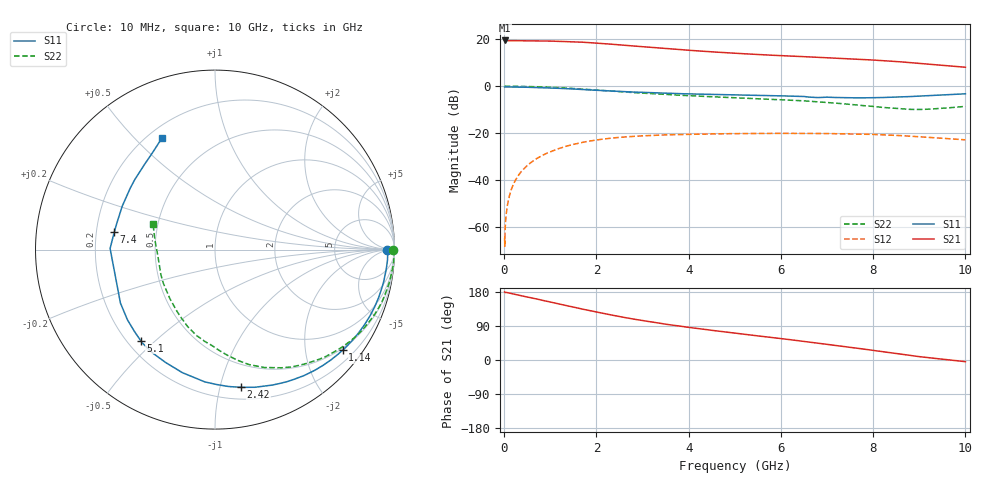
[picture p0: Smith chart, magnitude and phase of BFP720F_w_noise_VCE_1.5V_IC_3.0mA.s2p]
! Infineon Technologies  Discrete & RF Semiconductors
! BFP720F
! VCE =  1.5 V,  IC =  3.0 mA
! Common Emitter S-Parameters:  Jan 2016
# GHz  S  MA  R  50
!  f  S11  S21  S12  S22
! GHz  MAG  ANG  MAG  ANG  MAG  ANG  MAG  ANG
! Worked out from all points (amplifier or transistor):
!   233 points, 10 MHz to 10 GHz, reference 50 ohm
!   highest |S21| = 19.4 dB at 10 MHz (marker M1)
!   |S21| within 3 dB of that: start of sweep to 3.219 GHz
!   unconditionally stable (mu >= 1): 8.91 GHz to end of sweep
!   at 200 MHz: K = 0.02, MSG = 30.5 dB, |S12| = -41.7 dB
!   at 1.74 GHz: K = 0.16, MSG = 21.2 dB, |S12| = -23.7 dB
!   at 10 GHz: K = 1.12, MAG = 13.3 dB, |S12| = -22.8 dB
!   lowest NFmin = 0.40 dB at 450 MHz
!   S11 on the Smith chart (normalised r, x): 10 MHz: 50, +0; 1.14 GHz: 0.45, -2.82; 2.42 GHz: 0.30, -1.16; 5.1 GHz: 0.25, -0.45; 7.4 GHz: 0.28, +0.08; 10 GHz: 0.25, +0.60
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0.01  0.961 0.0  9.369 179.6  0.0006 -24.7  0.9941 -0.2
0.015  0.9625 -0.3  9.262 178.8  0.0004 55.7  0.997 -0.7
0.02  0.9641 -0.5  9.157 178.0  0.0009 96.8  1 -1.1
0.03  0.9635 -0.9  9.195 178.1  0.0013 92.3  0.9992 -1.2
0.09  0.9629 -2.9  9.281 177.3  0.0037 88.1  0.9981 -2.2
0.28  0.9578 -9.2  9.257 172.1  0.0116 84.0  0.9933 -6.8
0.8  0.9325 -26.6  9.182 158.4  0.0327 71.9  0.968 -19.6
1.14  0.9055 -38.2  8.988 149.2  0.0457 63.7  0.9372 -28.0
1.68  0.8521 -56.8  8.624 134.8  0.0636 51.0  0.8718 -41.2
2  0.8194 -67.1  8.252 126.5  0.0721 43.9  0.83 -48.5
2.42  0.7804 -79.4  7.664 116.6  0.0807 35.1  0.7772 -57.4
2.96  0.7412 -93.4  6.957 104.8  0.0878 25.7  0.7166 -66.5
3.4  0.7134 -102.7  6.427 96.5  0.0915 19.1  0.6758 -72.3
4  0.6868 -113.5  5.805 86.1  0.095 11.3  0.6291 -78.5
4.5  0.6729 -121.0  5.372 78.3  0.097 5.8  0.5976 -82.7
5.1  0.6545 -129.3  4.953 69.5  0.0985 -0.5  0.5615 -87.7
6.5  0.6053 -150.5  4.248 49.0  0.0997 -14.2  0.4889 -102.3
6.8  0.5732 -168.4  4.106 44.4  0.099 -17.1  0.467 -106.7
7.4  0.5697 170.2  3.841 35.0  0.0973 -23.0  0.4196 -117.5
8.4  0.5836 143.9  3.398 18.7  0.0913 -33.1  0.3433 -147.1
9  0.616 129.6  3.059 8.9  0.0845 -38.6  0.3202 -173.4
10  0.6894 115.4  2.527 -4.4  0.0725 -44.0  0.3733 157.6
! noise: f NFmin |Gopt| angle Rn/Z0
0.45  0.4  0.62  4  0.22
0.9  0.47  0.62  12  0.22
1.8  0.5  0.6  23  0.17
2.4  0.55  0.59  30  0.16
5.5  0.77  0.44  81  0.11
10  1.13  0.28  -126  0.14
